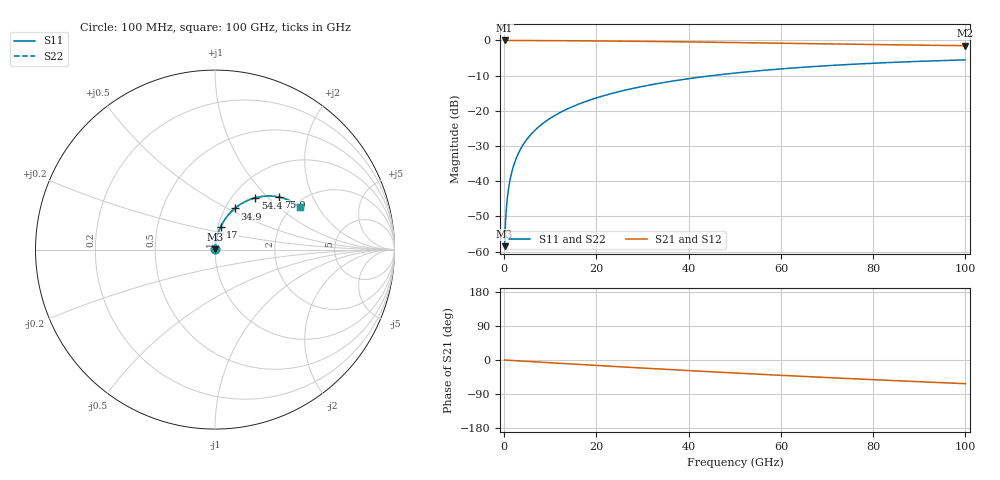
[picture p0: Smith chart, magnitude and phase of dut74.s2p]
! Touchstone file exported from HFSS 2026.1.0
!  File:  C:/ffzhzh/LocalFiles/Ansys_Project_Files/temp_train_RDL_74_1783498701_31944.aedt
!  Generated:  04:19:27 PM Jul  8, 2026
!  Design:  RDL
!  Project:  temp_train_RDL_74_1783498701_31944
! Variables:
!  h_bsmrdl = 2um
!  h_ox = 20um
!  h_rdl = 5um
!  h_sub = 80um
!  h_tmrdl = 4.29um
!  h_tsv = 80um
!  h_via = 3um
!  l_bsmrdl = 300um
!  l_sub = 565.68um
!  l_tmrdl = 165.68um
!  m_sub = 200um
!  pitch = 50.67um
!  r_tsv = 6um
!  s_tmrdl = 10um
!  w_bsmrdl = 18um
!  w_sub = 500um
!  w_tmrdl = 21.19um
!  x_tsv_center1 = 176.275um
!  x_tsv_center2 = 494.275um
!  x_tsv_center3 = 681.145um
!  x_tsv_center4 = 999.145um
!  x_tsv_center5 = 1186.015um
!  x_tsv_center6 = 1504.015um
# GHz S MA R 50.000000
! Terminal data exported
! Port[1] = TM_RDL1_1_T1
! Port[2] = TM_RDL1_1_T2
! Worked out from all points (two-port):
!   1000 points, 100 MHz to 100 GHz, reference 50 ohm
!   highest |S21| = -0.01 dB at 100 MHz (marker M1); lowest = -1.5 dB at 100 GHz (marker M2)
!   |S21| within 3 dB of the highest: start of sweep to end of sweep
!   lowest |S11| = -58.5 dB at 100 MHz (marker M3), VSWR 1.00, Z = 50.1 + j0.0869 ohm
!   |S11| at or under -10 dB: start of sweep to 45.08 GHz
!   |S22| runs from -58.5 to -5.5 dB; largest |S21 - S12| = 5.5e-15
!   S11 on the Smith chart (normalised r, x): 100 MHz: 1.00, +0.00; 17 GHz: 1.03, +0.27; 34.9 GHz: 1.11, +0.54; 54.4 GHz: 1.27, +0.85; 75.9 GHz: 1.57, +1.17; 100 GHz: 2.14, +1.42
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0.1  0.001193 46.6  0.9992 -0.1  0.9992 -0.1  0.001193 46.6
! Gamma 0 0 0 0
! Port Impedance 50 0 50 0
0.4  0.00346 74.1  0.9991 -0.3  0.9991 -0.3  0.00346 74.1
0.8  0.006614 80.7  0.999 -0.6  0.999 -0.6  0.006614 80.7
1.1  0.009006 82.6  0.9989 -0.8  0.9989 -0.8  0.009006 82.6
1.4  0.01141 83.6  0.9989 -1.0  0.9989 -1.0  0.01141 83.6
1.9  0.01541 84.3  0.9987 -1.4  0.9987 -1.4  0.01541 84.3
2.4  0.01941 84.6  0.9986 -1.8  0.9986 -1.8  0.01941 84.6
3.9  0.03131 84.3  0.998 -2.9  0.998 -2.9  0.03131 84.3
6  0.04773 83.2  0.9969 -4.4  0.9969 -4.4  0.04773 83.2
8.8  0.06927 81.5  0.9951 -6.4  0.9951 -6.4  0.06927 81.5
12.4  0.09653 79.2  0.9923 -9.0  0.9923 -9.0  0.09653 79.2
16.8  0.1292 76.3  0.988 -12.1  0.988 -12.1  0.1292 76.3
17  0.1307 76.2  0.9878 -12.3  0.9878 -12.3  0.1307 76.2
24.3  0.1832 71.3  0.9788 -17.4  0.9788 -17.4  0.1832 71.3
33.4  0.2447 65.3  0.9647 -23.6  0.9647 -23.6  0.2447 65.3
34.9  0.2544 64.3  0.9621 -24.6  0.9621 -24.6  0.2544 64.3
50.1  0.3441 54.7  0.9332 -34.4  0.9332 -34.4  0.3441 54.7
54.4  0.3666 52.0  0.9245 -37.1  0.9245 -37.1  0.3666 52.0
66.7  0.4239 44.8  0.8996 -44.4  0.8996 -44.4  0.4239 44.8
75.9  0.4599 39.6  0.8817 -49.7  0.8817 -49.7  0.4599 39.6
83.4  0.4851 35.5  0.8681 -53.8  0.8681 -53.8  0.4851 35.5
100  0.5287 26.9  0.8423 -62.5  0.8423 -62.5  0.5287 26.9
